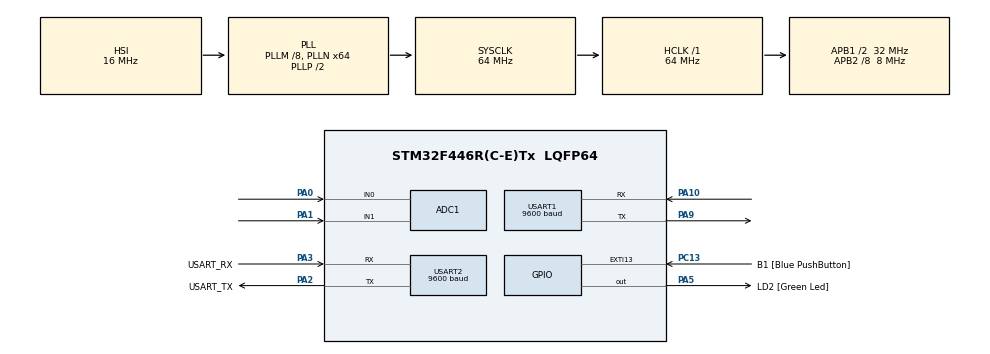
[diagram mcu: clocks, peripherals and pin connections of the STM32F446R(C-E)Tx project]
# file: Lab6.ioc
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ADC1.Channel-0\#ChannelRegularConversion=ADC_CHANNEL_0
ADC1.Channel-1\#ChannelInjectedConversion=ADC_CHANNEL_0
ADC1.Channel-2\#ChannelInjectedConversion=ADC_CHANNEL_0
ADC1.Channel-3\#ChannelRegularConversion=ADC_CHANNEL_1
ADC1.ClockPrescaler=ADC_CLOCK_SYNC_PCLK_DIV8
ADC1.ContinuousConvMode=ENABLE
ADC1.DMAContinuousRequests=ENABLE
ADC1.EOCSelection=ADC_EOC_SEQ_CONV
ADC1.InjNumberOfConversion=2
ADC1.InjectedOffset-1\#ChannelInjectedConversion=0
ADC1.InjectedOffset-2\#ChannelInjectedConversion=0
ADC1.InjectedRank-1\#ChannelInjectedConversion=1
ADC1.InjectedRank-2\#ChannelInjectedConversion=2
ADC1.NbrOfConversion=2
ADC1.NbrOfConversionFlag=1
ADC1.Rank-0\#ChannelRegularConversion=1
ADC1.Rank-3\#ChannelRegularConversion=2
ADC1.SamplingTime-0\#ChannelRegularConversion=ADC_SAMPLETIME_480CYCLES
ADC1.SamplingTime-1\#ChannelInjectedConversion=ADC_SAMPLETIME_3CYCLES
ADC1.SamplingTime-2\#ChannelInjectedConversion=ADC_SAMPLETIME_3CYCLES
ADC1.SamplingTime-3\#ChannelRegularConversion=ADC_SAMPLETIME_480CYCLES
ADC1.ScanConvMode=ENABLE
ADC1.master=1
Dma.ADC1.0.Direction=DMA_PERIPH_TO_MEMORY
Dma.ADC1.0.FIFOMode=DMA_FIFOMODE_DISABLE
Dma.ADC1.0.Instance=DMA2_Stream0
Dma.ADC1.0.MemDataAlignment=DMA_MDATAALIGN_HALFWORD
Dma.ADC1.0.MemInc=DMA_MINC_ENABLE
Dma.ADC1.0.Mode=DMA_CIRCULAR
Dma.ADC1.0.PeriphDataAlignment=DMA_PDATAALIGN_HALFWORD
Dma.ADC1.0.PeriphInc=DMA_PINC_DISABLE
Dma.ADC1.0.Priority=DMA_PRIORITY_LOW
Dma.Request0=ADC1
Dma.Request1=USART1_RX
Dma.USART1_RX.1.Direction=DMA_PERIPH_TO_MEMORY
Dma.USART1_RX.1.FIFOMode=DMA_FIFOMODE_DISABLE
Dma.USART1_RX.1.Instance=DMA2_Stream2
Dma.USART1_RX.1.MemDataAlignment=DMA_MDATAALIGN_BYTE
Dma.USART1_RX.1.MemInc=DMA_MINC_ENABLE
Dma.USART1_RX.1.Mode=DMA_CIRCULAR
Dma.USART1_RX.1.PeriphDataAlignment=DMA_PDATAALIGN_BYTE
Dma.USART1_RX.1.PeriphInc=DMA_PINC_DISABLE
Dma.USART1_RX.1.Priority=DMA_PRIORITY_LOW
Mcu.Family=STM32F4
Mcu.Name=STM32F446R(C-E)Tx
Mcu.Package=LQFP64
NVIC.DMA2_Stream0_IRQn=true\:0\:0\:false\:false\:true\:false\:true\:true
NVIC.DMA2_Stream2_IRQn=true\:0\:0\:false\:false\:true\:false\:true\:true
NVIC.PriorityGroup=NVIC_PRIORITYGROUP_0
NVIC.USART2_IRQn=true\:0\:0\:false\:false\:true\:true\:true\:true
PA0-WKUP.Signal=ADCx_IN0
PA1.Signal=ADCx_IN1
PA10.Mode=Asynchronous
PA10.Signal=USART1_RX
PA13.GPIO_Label=TMS
PA13.Mode=Serial_Wire
PA13.Signal=SYS_JTMS-SWDIO
PA14.GPIO_Label=TCK
PA14.Mode=Serial_Wire
PA14.Signal=SYS_JTCK-SWCLK
PA2.GPIO_Label=USART_TX
PA2.Mode=Asynchronous
PA2.Signal=USART2_TX
PA3.GPIO_Label=USART_RX
PA3.Mode=Asynchronous
PA3.Signal=USART2_RX
PA5.GPIO_Label=LD2 [Green Led]
PA5.Signal=GPIO_Output
PA9.Mode=Asynchronous
PA9.Signal=USART1_TX
PB3.GPIO_Label=SWO
PB3.Signal=SYS_JTDO-SWO
PC13.GPIO_Label=B1 [Blue PushButton]
PC13.GPIO_ModeDefaultEXTI=GPIO_MODE_IT_FALLING
PC13.Signal=GPXTI13
PC14-OSC32_IN.Mode=LSE-External-Oscillator
PC14-OSC32_IN.Signal=RCC_OSC32_IN
PC15-OSC32_OUT.Mode=LSE-External-Oscillator
PC15-OSC32_OUT.Signal=RCC_OSC32_OUT
PH0-OSC_IN.Mode=HSE-External-Oscillator
PH0-OSC_IN.Signal=RCC_OSC_IN
PH1-OSC_OUT.Mode=HSE-External-Oscillator
PH1-OSC_OUT.Signal=RCC_OSC_OUT
ProjectManager.HeapSize=0x200
ProjectManager.StackSize=0x400
ProjectManager.TargetToolchain=STM32CubeIDE
RCC.48MHZClocksFreq_Value=84000000
RCC.AHBFreq_Value=64000000
RCC.APB1CLKDivider=RCC_HCLK_DIV2
RCC.APB1Freq_Value=32000000
RCC.APB1TimFreq_Value=64000000
RCC.APB2CLKDivider=RCC_HCLK_DIV8
RCC.APB2Freq_Value=8000000
RCC.APB2TimFreq_Value=16000000
RCC.CortexFreq_Value=64000000
RCC.FLatency-AdvancedSettings=FLASH_LATENCY_2
RCC.HCLKFreq_Value=64000000
RCC.HSE_VALUE=8000000
RCC.HSI_VALUE=16000000
RCC.PLLM=8
RCC.PLLN=64
RCC.SYSCLKFreq_VALUE=64000000
RCC.SYSCLKSource=RCC_SYSCLKSOURCE_PLLCLK
RCC.USBFreq_Value=64000000
RCC.VCOOutputFreq_Value=128000000
SH.ADCx_IN0.0=ADC1_IN0,IN0
SH.ADCx_IN1.0=ADC1_IN1,IN1
USART1.BaudRate=9600
USART1.OverSampling=UART_OVERSAMPLING_8
USART1.VirtualMode=VM_ASYNC
USART2.BaudRate=9600
USART2.OverSampling=UART_OVERSAMPLING_8
USART2.VirtualMode=VM_ASYNC
board=NUCLEO-F446RE

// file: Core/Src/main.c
/* USER CODE BEGIN Header */
/**
  ******************************************************************************
  * @file           : main.c
  * @brief          : Main program body
  ******************************************************************************
  * @attention
  *
  * Copyright (c) 2026 STMicroelectronics.
  * All rights reserved.
  *
  * This software is licensed under terms that can be found in the LICENSE file
  * in the root directory of this software component.
  * If no LICENSE file comes with this software, it is provided AS-IS.
  *
  ******************************************************************************
  */
/* USER CODE END Header */
#include "main.h"

/* USER CODE BEGIN Includes */
#include <stdint.h>
#include <stdio.h>
#include <string.h>
/* USER CODE END Includes */

/* USER CODE BEGIN PD */
#define ftimclk 1000000
/* USER CODE END PD */

ADC_HandleTypeDef hadc1;
DMA_HandleTypeDef hdma_adc1;

UART_HandleTypeDef huart1;
UART_HandleTypeDef huart2;
DMA_HandleTypeDef hdma_usart1_rx;

/* USER CODE BEGIN PV */
uint16_t adcValor[2];
char estadoX[10];
char estadoY[10];
uint8_t temp[2];
uint8_t indx = 0;
uint8_t buffer[10];
char prueba[15];
/* USER CODE END PV */

void SystemClock_Config(void);
static void MX_GPIO_Init(void);
static void MX_DMA_Init(void);
static void MX_USART2_UART_Init(void);
static void MX_ADC1_Init(void);
static void MX_USART1_UART_Init(void);

int main(void)
{

  /* MCU Configuration--------------------------------------------------------*/

  /* Reset of all peripherals, Initializes the Flash interface and the Systick. */
  HAL_Init();

  /* Configure the system clock */
  SystemClock_Config();

  /* Initialize all configured peripherals */
  MX_GPIO_Init();
  MX_DMA_Init();
  MX_USART2_UART_Init();
  MX_ADC1_Init();
  MX_USART1_UART_Init();
  /* USER CODE BEGIN 2 */
  HAL_ADC_Start_DMA(&hadc1, (uint32_t *)adcValor, 2);
  HAL_UART_Receive_DMA(&huart1, temp, 1);
  //HAL_UART_Receive_IT(&huart2, temp, 1);
  /* USER CODE END 2 */

  /* Infinite loop */
  while (1)
  {

    /* USER CODE BEGIN 3 */
	  // iniciamos adc
	  if(adcValor[0] >=2300){
		  strcpy(estadoY, "Control 1: Arriba \n");
		  HAL_UART_Transmit(&huart2, estadoY, strlen(estadoY), 100);
		  HAL_Delay(2000);
	  }else if(adcValor[0] <= 2000){
		  strcpy(estadoY, "Control 1: Abajo \n");
		  HAL_UART_Transmit(&huart2, estadoY, strlen(estadoY), 100);
		  HAL_Delay(2000);
	  } else {
		  strcpy(estadoY, "Central \n");
	  }
	  if(adcValor[1] >=2300){
		  strcpy(estadoX, "Control 1: Derecha \n");
		  HAL_UART_Transmit(&huart2, estadoX, strlen(estadoX), 100);
		  HAL_Delay(2000);
	  }else if(adcValor[1] <= 2000){
		  strcpy(estadoX, "Control 1: Izquierda \n");
		  HAL_UART_Transmit(&huart2, estadoX, strlen(estadoX), 100);
		  HAL_Delay(2000);
	  } else {
		  strcpy(estadoX, "Central \n");
	  }
	  /*
	  if (temp[0] == 'I'){
			strcpy(prueba, "Control 2: Izquierda \r");
			//HAL_UART_Transmit(&huart2, prueba, strlen(prueba), 100);
		}else if(temp[0] == 'D'){
			strcpy(prueba, "Control 2: Abajo \r");
			//HAL_UART_Transmit(&huart2, prueba, strlen(prueba), 100);
		}else if(temp[0] == 'A'){
			strcpy(prueba, "Control 2: Arriba \r");
			//HAL_UART_Transmit(&huart2, prueba, strlen(prueba), 100);
		}else if(temp[0] == 'R'){
			strcpy(prueba, "Control 2: Derecha \r");
			//HAL_UART_Transmit(&huart2, prueba, strlen(prueba), 100);
		}else if(temp[0] == 'a'){
			strcpy(prueba, "Control 2: A \r");
			//HAL_UART_Transmit(&huart2, prueba, strlen(prueba), 100);
		}else if(temp[0] == 'b'){
			strcpy(prueba, "Control 2: B \r");
			//HAL_UART_Transmit(&huart2, prueba, strlen(prueba), 100);
		}
		*/
  }
  /* USER CODE END 3 */
}

void SystemClock_Config(void)
{
  RCC_OscInitTypeDef RCC_OscInitStruct = {0};
  RCC_ClkInitTypeDef RCC_ClkInitStruct = {0};

  /** Configure the main internal regulator output voltage
  */
  __HAL_RCC_PWR_CLK_ENABLE();
  __HAL_PWR_VOLTAGESCALING_CONFIG(PWR_REGULATOR_VOLTAGE_SCALE3);

  /** Initializes the RCC Oscillators according to the specified parameters
  * in the RCC_OscInitTypeDef structure.
  */
  RCC_OscInitStruct.OscillatorType = RCC_OSCILLATORTYPE_HSI;
  RCC_OscInitStruct.HSIState = RCC_HSI_ON;
  RCC_OscInitStruct.HSICalibrationValue = RCC_HSICALIBRATION_DEFAULT;
  RCC_OscInitStruct.PLL.PLLState = RCC_PLL_ON;
  RCC_OscInitStruct.PLL.PLLSource = RCC_PLLSOURCE_HSI;
  RCC_OscInitStruct.PLL.PLLM = 8;
  RCC_OscInitStruct.PLL.PLLN = 64;
  RCC_OscInitStruct.PLL.PLLP = RCC_PLLP_DIV2;
  RCC_OscInitStruct.PLL.PLLQ = 2;
  RCC_OscInitStruct.PLL.PLLR = 2;
  if (HAL_RCC_OscConfig(&RCC_OscInitStruct) != HAL_OK)
  {
    Error_Handler();
  }

  /** Initializes the CPU, AHB and APB buses clocks
  */
  RCC_ClkInitStruct.ClockType = RCC_CLOCKTYPE_HCLK|RCC_CLOCKTYPE_SYSCLK
                              |RCC_CLOCKTYPE_PCLK1|RCC_CLOCKTYPE_PCLK2;
  RCC_ClkInitStruct.SYSCLKSource = RCC_SYSCLKSOURCE_PLLCLK;
  RCC_ClkInitStruct.AHBCLKDivider = RCC_SYSCLK_DIV1;
  RCC_ClkInitStruct.APB1CLKDivider = RCC_HCLK_DIV2;
  RCC_ClkInitStruct.APB2CLKDivider = RCC_HCLK_DIV8;

  if (HAL_RCC_ClockConfig(&RCC_ClkInitStruct, FLASH_LATENCY_2) != HAL_OK)
  {
    Error_Handler();
  }
}

static void MX_ADC1_Init(void)
{

  ADC_ChannelConfTypeDef sConfig = {0};
  ADC_InjectionConfTypeDef sConfigInjected = {0};

  /** Configure the global features of the ADC (Clock, Resolution, Data Alignment and number of conversion)
  */
  hadc1.Instance = ADC1;
  hadc1.Init.ClockPrescaler = ADC_CLOCK_SYNC_PCLK_DIV8;
  hadc1.Init.Resolution = ADC_RESOLUTION_12B;
  hadc1.Init.ScanConvMode = ENABLE;
  hadc1.Init.ContinuousConvMode = ENABLE;
  hadc1.Init.DiscontinuousConvMode = DISABLE;
  hadc1.Init.ExternalTrigConvEdge = ADC_EXTERNALTRIGCONVEDGE_NONE;
  hadc1.Init.ExternalTrigConv = ADC_SOFTWARE_START;
  hadc1.Init.DataAlign = ADC_DATAALIGN_RIGHT;
  hadc1.Init.NbrOfConversion = 2;
  hadc1.Init.DMAContinuousRequests = ENABLE;
  hadc1.Init.EOCSelection = ADC_EOC_SEQ_CONV;
  if (HAL_ADC_Init(&hadc1) != HAL_OK)
  {
    Error_Handler();
  }

  /** Configure for the selected ADC regular channel its corresponding rank in the sequencer and its sample time.
  */
  sConfig.Channel = ADC_CHANNEL_0;
  sConfig.Rank = 1;
  sConfig.SamplingTime = ADC_SAMPLETIME_480CYCLES;
  if (HAL_ADC_ConfigChannel(&hadc1, &sConfig) != HAL_OK)
  {
    Error_Handler();
  }

  /** Configure for the selected ADC regular channel its corresponding rank in the sequencer and its sample time.
  */
  sConfig.Channel = ADC_CHANNEL_1;
  sConfig.Rank = 2;
  if (HAL_ADC_ConfigChannel(&hadc1, &sConfig) != HAL_OK)
  {
    Error_Handler();
  }

  /** Configures for the selected ADC injected channel its corresponding rank in the sequencer and its sample time
  */
  sConfigInjected.InjectedChannel = ADC_CHANNEL_0;
  sConfigInjected.InjectedRank = 1;
  sConfigInjected.InjectedNbrOfConversion = 2;
  sConfigInjected.InjectedSamplingTime = ADC_SAMPLETIME_3CYCLES;
  sConfigInjected.ExternalTrigInjecConvEdge = ADC_EXTERNALTRIGINJECCONVEDGE_NONE;
  sConfigInjected.ExternalTrigInjecConv = ADC_INJECTED_SOFTWARE_START;
  sConfigInjected.AutoInjectedConv = DISABLE;
  sConfigInjected.InjectedDiscontinuousConvMode = DISABLE;
  sConfigInjected.InjectedOffset = 0;
  if (HAL_ADCEx_InjectedConfigChannel(&hadc1, &sConfigInjected) != HAL_OK)
  {
    Error_Handler();
  }

  /** Configures for the selected ADC injected channel its corresponding rank in the sequencer and its sample time
  */
  sConfigInjected.InjectedRank = 2;
  if (HAL_ADCEx_InjectedConfigChannel(&hadc1, &sConfigInjected) != HAL_OK)
  {
    Error_Handler();
  }

}

static void MX_USART1_UART_Init(void)
{

  huart1.Instance = USART1;
  huart1.Init.BaudRate = 9600;
  huart1.Init.WordLength = UART_WORDLENGTH_8B;
  huart1.Init.StopBits = UART_STOPBITS_1;
  huart1.Init.Parity = UART_PARITY_NONE;
  huart1.Init.Mode = UART_MODE_TX_RX;
  huart1.Init.HwFlowCtl = UART_HWCONTROL_NONE;
  huart1.Init.OverSampling = UART_OVERSAMPLING_8;
  if (HAL_UART_Init(&huart1) != HAL_OK)
  {
    Error_Handler();
  }

}

static void MX_USART2_UART_Init(void)
{

  huart2.Instance = USART2;
  huart2.Init.BaudRate = 9600;
  huart2.Init.WordLength = UART_WORDLENGTH_8B;
  huart2.Init.StopBits = UART_STOPBITS_1;
  huart2.Init.Parity = UART_PARITY_NONE;
  huart2.Init.Mode = UART_MODE_TX_RX;
  huart2.Init.HwFlowCtl = UART_HWCONTROL_NONE;
  huart2.Init.OverSampling = UART_OVERSAMPLING_8;
  if (HAL_UART_Init(&huart2) != HAL_OK)
  {
    Error_Handler();
  }

}

static void MX_DMA_Init(void)
{

  /* DMA controller clock enable */
  __HAL_RCC_DMA2_CLK_ENABLE();

  /* DMA interrupt init */
  /* DMA2_Stream0_IRQn interrupt configuration */
  HAL_NVIC_SetPriority(DMA2_Stream0_IRQn, 0, 0);
  HAL_NVIC_EnableIRQ(DMA2_Stream0_IRQn);
  /* DMA2_Stream2_IRQn interrupt configuration */
  HAL_NVIC_SetPriority(DMA2_Stream2_IRQn, 0, 0);
  HAL_NVIC_EnableIRQ(DMA2_Stream2_IRQn);

}

static void MX_GPIO_Init(void)
{
  GPIO_InitTypeDef GPIO_InitStruct = {0};

  /* GPIO Ports Clock Enable */
  __HAL_RCC_GPIOC_CLK_ENABLE();
  __HAL_RCC_GPIOH_CLK_ENABLE();
  __HAL_RCC_GPIOA_CLK_ENABLE();
  __HAL_RCC_GPIOB_CLK_ENABLE();

  /*Configure GPIO pin Output Level */
  HAL_GPIO_WritePin(LD2_GPIO_Port, LD2_Pin, GPIO_PIN_RESET);

  /*Configure GPIO pin : B1_Pin */
  GPIO_InitStruct.Pin = B1_Pin;
  GPIO_InitStruct.Mode = GPIO_MODE_IT_FALLING;
  GPIO_InitStruct.Pull = GPIO_NOPULL;
  HAL_GPIO_Init(B1_GPIO_Port, &GPIO_InitStruct);

  /*Configure GPIO pin : LD2_Pin */
  GPIO_InitStruct.Pin = LD2_Pin;
  GPIO_InitStruct.Mode = GPIO_MODE_OUTPUT_PP;
  GPIO_InitStruct.Pull = GPIO_NOPULL;
  GPIO_InitStruct.Speed = GPIO_SPEED_FREQ_LOW;
  HAL_GPIO_Init(LD2_GPIO_Port, &GPIO_InitStruct);

}

/* USER CODE BEGIN 4 */
void HAL_ADC_ConvCpltCallback(ADC_HandleTypeDef *hadc){

}

void HAL_UART_RxCpltCallback(UART_HandleTypeDef *huart){
	memcpy(buffer+indx,temp,1);
	indx++;
	if(indx >= 10){
		indx = 0;
	}
	HAL_UART_Receive_IT(&huart2, temp, 1);
	if (temp[0] == 'I'){
		strcpy(prueba, "Control 2: Izquierda\n");
		HAL_UART_Transmit(&huart2, prueba, strlen(prueba), 100);
	}else if(temp[0] == 'D'){
		strcpy(prueba, "Control 2: Abajo\n");
		HAL_UART_Transmit(&huart2, prueba, strlen(prueba), 100);
	}else if(temp[0] == 'A'){
		strcpy(prueba, "Control 2: Arriba\n");
		HAL_UART_Transmit(&huart2, prueba, strlen(prueba), 100);
	}else if(temp[0] == 'R'){
		strcpy(prueba, "Control 2: Derecha\n");
		HAL_UART_Transmit(&huart2, prueba, strlen(prueba), 100);
	}else if(temp[0] == 'a'){
		strcpy(prueba, "Control 2: A\n");
		HAL_UART_Transmit(&huart2, prueba, strlen(prueba), 100);
	}else if(temp[0] == 'b'){
		strcpy(prueba, "Control 2: B\n");
		HAL_UART_Transmit(&huart2, prueba, strlen(prueba), 100);
	}

}
void UART_DMAReceiveCplt(DMA_HandleTypeDef *hdma){
	HAL_UART_Transmit(&huart2, prueba, strlen(prueba), 100);
	HAL_UART_Receive_DMA(&huart1, temp, 1);
}
/* USER CODE END 4 */

void Error_Handler(void)
{
  __disable_irq();
  while (1)
  {
  }
}
